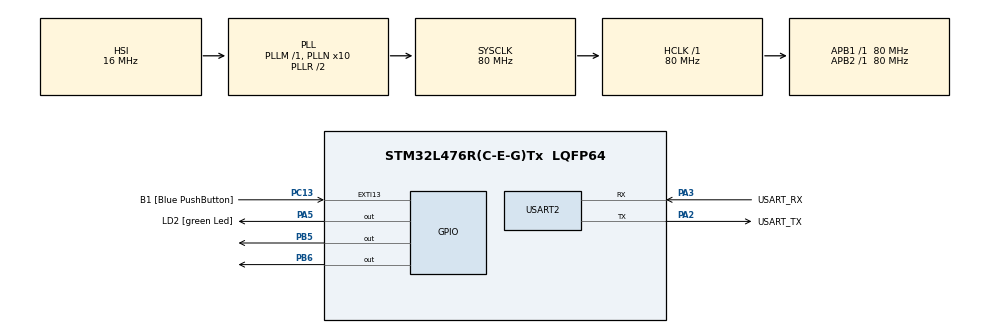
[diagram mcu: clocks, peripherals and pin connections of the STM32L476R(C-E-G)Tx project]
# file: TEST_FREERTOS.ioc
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FREERTOS.INCLUDE_pcTaskGetTaskName=1
FREERTOS.INCLUDE_xQueueGetMutexHolder=0
FREERTOS.INCLUDE_xTaskGetHandle=1
FREERTOS.Tasks01=defaultTask,24,128,StartDefaultTask,Default,NULL,Dynamic,NULL,NULL
FREERTOS.configUSE_IDLE_HOOK=0
FREERTOS.configUSE_NEWLIB_REENTRANT=1
Mcu.Family=STM32L4
Mcu.Name=STM32L476R(C-E-G)Tx
Mcu.Package=LQFP64
NVIC.PriorityGroup=NVIC_PRIORITYGROUP_4
NVIC.TIM1_UP_TIM16_IRQn=true\:15\:0\:false\:false\:true\:false\:false\:true\:true
NVIC.TimeBase=TIM1_UP_TIM16_IRQn
NVIC.TimeBaseIP=TIM1
PA13\ (JTMS-SWDIO).GPIO_Label=TMS
PA13\ (JTMS-SWDIO).Mode=Serial_Wire
PA13\ (JTMS-SWDIO).Signal=SYS_JTMS-SWDIO
PA14\ (JTCK-SWCLK).GPIO_Label=TCK
PA14\ (JTCK-SWCLK).Mode=Serial_Wire
PA14\ (JTCK-SWCLK).Signal=SYS_JTCK-SWCLK
PA2.GPIO_Label=USART_TX
PA2.GPIO_Mode=GPIO_MODE_AF_PP
PA2.GPIO_PuPd=GPIO_NOPULL
PA2.GPIO_Speed=GPIO_SPEED_FREQ_VERY_HIGH
PA2.Mode=Asynchronous
PA2.Signal=USART2_TX
PA3.GPIO_Label=USART_RX
PA3.GPIO_Mode=GPIO_MODE_AF_PP
PA3.GPIO_PuPd=GPIO_NOPULL
PA3.GPIO_Speed=GPIO_SPEED_FREQ_VERY_HIGH
PA3.Mode=Asynchronous
PA3.Signal=USART2_RX
PA5.GPIO_Label=LD2 [green Led]
PA5.GPIO_ModeDefaultOutputPP=GPIO_MODE_OUTPUT_PP
PA5.GPIO_PuPd=GPIO_NOPULL
PA5.GPIO_Speed=GPIO_SPEED_FREQ_LOW
PA5.Signal=GPIO_Output
PB3\ (JTDO-TRACESWO).GPIO_Label=SWO
PB3\ (JTDO-TRACESWO).Signal=SYS_JTDO-SWO
PB5.Signal=GPIO_Output
PB6.Signal=GPIO_Output
PC13.GPIO_Label=B1 [Blue PushButton]
PC13.GPIO_ModeDefaultEXTI=GPIO_MODE_IT_FALLING
PC13.GPIO_PuPd=GPIO_NOPULL
PC13.Signal=GPXTI13
PC14-OSC32_IN\ (PC14).Mode=LSE-External-Oscillator
PC14-OSC32_IN\ (PC14).Signal=RCC_OSC32_IN
PC15-OSC32_OUT\ (PC15).Mode=LSE-External-Oscillator
PC15-OSC32_OUT\ (PC15).Signal=RCC_OSC32_OUT
PH0-OSC_IN\ (PH0).Signal=RCC_OSC_IN
PH1-OSC_OUT\ (PH1).Signal=RCC_OSC_OUT
ProjectManager.HeapSize=0x200
ProjectManager.StackSize=0x400
ProjectManager.TargetToolchain=STM32CubeIDE
RCC.ADCFreq_Value=64000000
RCC.AHBFreq_Value=80000000
RCC.APB1Freq_Value=80000000
RCC.APB1TimFreq_Value=80000000
RCC.APB2Freq_Value=80000000
RCC.APB2TimFreq_Value=80000000
RCC.CortexFreq_Value=80000000
RCC.HCLKFreq_Value=80000000
RCC.HSE_VALUE=8000000
RCC.HSI_VALUE=16000000
RCC.MSI_VALUE=4000000
RCC.PLLN=10
RCC.PLLSourceVirtual=RCC_PLLSOURCE_HSI
RCC.PREFETCH_ENABLE=1
RCC.SYSCLKFreq_VALUE=80000000
RCC.SYSCLKSource=RCC_SYSCLKSOURCE_PLLCLK
RCC.USBFreq_Value=64000000
RCC.VCOOutputFreq_Value=160000000
USART2.VirtualMode-Asynchronous=VM_ASYNC
VP_FREERTOS_VS_CMSIS_V2.Mode=CMSIS_V2
VP_SYS_VS_tim1.Mode=TIM1
board=NUCLEO-L476RG

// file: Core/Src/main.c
/* USER CODE BEGIN Header */
/**
  ******************************************************************************
  * @file           : main.c
  * @brief          : Main program body
  ******************************************************************************
  * @attention
  *
  * Copyright (c) 2026 STMicroelectronics.
  * All rights reserved.
  *
  * This software is licensed under terms that can be found in the LICENSE file
  * in the root directory of this software component.
  * If no LICENSE file comes with this software, it is provided AS-IS.
  *
  ******************************************************************************
  */
/* USER CODE END Header */
#include "main.h"
//#include "cmsis_os.h"
#include "usart.h"
#include "gpio.h"

/* USER CODE BEGIN Includes */
#include "FreeRTOS.h"
#include "task.h"
#include "scheduler.h"
#include <stdio.h>
#include "DBG.h"
/* USER CODE END Includes */

/* USER CODE BEGIN PD */
TaskHandle_t tA, tB, tC;

/* USER CODE END PD */

void SystemClock_Config(void);

/* USER CODE BEGIN PFP */
void periodic_task( void *pvParameters );
void vApplicationStackOverflowHook( TaskHandle_t xTask, char *pcTaskName );
void MyTaskSwitchedIn( void );
void MyTaskSwitchedOut( void );
void vApplicationTickHook( void );
void show_specific_task_states(void);
/* USER CODE END PFP */

int main(void)
{

  /* MCU Configuration--------------------------------------------------------*/

  /* Reset of all peripherals, Initializes the Flash interface and the Systick. */
  HAL_Init();

  /* Configure the system clock */
  SystemClock_Config();

  /* Initialize all configured peripherals */
  MX_GPIO_Init();
  MX_USART2_UART_Init();
  /* USER CODE BEGIN 2 */

	DBG_PRINT("hi");

  /* USER CODE END 2 */

  /* Start scheduler */

  /* We should never get here as control is now taken by the scheduler */

  /* Infinite loop */
  /* USER CODE BEGIN WHILE */
  /* Create RT periodic tasks.
       * No need to pass parameters to the task function —
       * everything is stored inside the TCB via xRTTaskCreate. */
  xRTTaskCreate( periodic_task, "A", 1024, NULL,
                 pdMS_TO_TICKS( 500 ),   /* period   */
                 pdMS_TO_TICKS( 500 ),   /* deadline */
                 pdMS_TO_TICKS( 80  ),   /* execution time */
                 &tA );

  xRTTaskCreate( periodic_task, "B", 1024, NULL,
                 pdMS_TO_TICKS( 400 ),
                 pdMS_TO_TICKS( 400 ),
                 pdMS_TO_TICKS( 200 ),
                 &tB );
  /*
  xRTTaskCreate( periodic_task, "C", 1024, NULL,
                     pdMS_TO_TICKS( 1000 ),
                     pdMS_TO_TICKS( 1000 ),
                     pdMS_TO_TICKS( 600  ),
                     &tC );
*/
      /* Print registered task info using helper API */
  DBG_PRINT( "Tasks created and registered:\n" );
  for( UBaseType_t i = 0; i < uxRTGetTaskCount(); i++ )
  {
	  TaskHandle_t h = xRTGetTaskByIndex( i );
	  DBG_PRINT( "  Task %s: period=%lu  deadline=%lu  execution_time=%lu\n",
      pcTaskGetName( h ),
      ( unsigned long ) xRTGetTaskPeriod( h ),
      ( unsigned long ) xRTGetTaskDeadline( h ),
      ( unsigned long ) xRTGetTaskExecutionTime( h ) );
  }

      /* Active policy shown at startup */
	#if   ( configUSE_RM   == 1 )
  DBG_PRINT( "Policy: Rate Monotonic (RM)\n" );
	#elif ( configUSE_DM   == 1 )
  DBG_PRINT( "Policy: Deadline Monotonic (DM)\n" );
	#elif ( configUSE_FIFO == 1 )
  DBG_PRINT( "Policy: FIFO\n" );
	#elif ( configUSE_EDF  == 1 )
  DBG_PRINT( "Policy: Earliest Deadline First (EDF)\n" );
  #endif

  //fflush( stdout );

  DBG_PRINT( "Starting scheduler\n" );
  vTaskStartScheduler();
  DBG_PRINT("5 - ERROR: scheduler returned!\r\n");

  while (1)
  {
    /* USER CODE END WHILE */

  }
}

void SystemClock_Config(void)
{
  RCC_OscInitTypeDef RCC_OscInitStruct = {0};
  RCC_ClkInitTypeDef RCC_ClkInitStruct = {0};

  /** Configure the main internal regulator output voltage
  */
  if (HAL_PWREx_ControlVoltageScaling(PWR_REGULATOR_VOLTAGE_SCALE1) != HAL_OK)
  {
    Error_Handler();
  }

  /** Initializes the RCC Oscillators according to the specified parameters
  * in the RCC_OscInitTypeDef structure.
  */
  RCC_OscInitStruct.OscillatorType = RCC_OSCILLATORTYPE_HSI;
  RCC_OscInitStruct.HSIState = RCC_HSI_ON;
  RCC_OscInitStruct.HSICalibrationValue = RCC_HSICALIBRATION_DEFAULT;
  RCC_OscInitStruct.PLL.PLLState = RCC_PLL_ON;
  RCC_OscInitStruct.PLL.PLLSource = RCC_PLLSOURCE_HSI;
  RCC_OscInitStruct.PLL.PLLM = 1;
  RCC_OscInitStruct.PLL.PLLN = 10;
  RCC_OscInitStruct.PLL.PLLP = RCC_PLLP_DIV7;
  RCC_OscInitStruct.PLL.PLLQ = RCC_PLLQ_DIV2;
  RCC_OscInitStruct.PLL.PLLR = RCC_PLLR_DIV2;
  if (HAL_RCC_OscConfig(&RCC_OscInitStruct) != HAL_OK)
  {
    Error_Handler();
  }

  /** Initializes the CPU, AHB and APB buses clocks
  */
  RCC_ClkInitStruct.ClockType = RCC_CLOCKTYPE_HCLK|RCC_CLOCKTYPE_SYSCLK
                              |RCC_CLOCKTYPE_PCLK1|RCC_CLOCKTYPE_PCLK2;
  RCC_ClkInitStruct.SYSCLKSource = RCC_SYSCLKSOURCE_PLLCLK;
  RCC_ClkInitStruct.AHBCLKDivider = RCC_SYSCLK_DIV1;
  RCC_ClkInitStruct.APB1CLKDivider = RCC_HCLK_DIV1;
  RCC_ClkInitStruct.APB2CLKDivider = RCC_HCLK_DIV1;

  if (HAL_RCC_ClockConfig(&RCC_ClkInitStruct, FLASH_LATENCY_4) != HAL_OK)
  {
    Error_Handler();
  }
}

/* USER CODE BEGIN 4 */
/* Required by FreeRTOS static allocation */
void vApplicationGetIdleTaskMemory( StaticTask_t **ppxIdleTaskTCBBuffer,
                                    StackType_t  **ppxIdleTaskStackBuffer,
                                    uint32_t      *pulIdleTaskStackSize )
{
    static StaticTask_t xIdleTaskTCB;
    static StackType_t  uxIdleTaskStack[ configMINIMAL_STACK_SIZE ];

    *ppxIdleTaskTCBBuffer  = &xIdleTaskTCB;
    *ppxIdleTaskStackBuffer = uxIdleTaskStack;
    *pulIdleTaskStackSize   = configMINIMAL_STACK_SIZE;
}
/* =========================================================
 * PERIODIC TASK
 *
 * No parameters passed — everything is read directly from
 * the TCB via the helper API using the current task handle.
 *
 * Pattern:
 *   1. Do work (busy wait for execution time duration)
 *   2. Print job info
 *   3. Suspend — TickHook will release next job
 * ========================================================= */
void periodic_task( void *pvParameters )
{
    ( void ) pvParameters;

    for( ;; )
    {
        TaskHandle_t self    = xTaskGetCurrentTaskHandle();
        TickType_t   execution_time = xRTGetTaskExecutionTime( self );
        TickType_t   elapsed = 0;
        TickType_t   slice_start;

        DBG_PRINT( "[START] %s  tick=%lu  execution_time = %lu\n",
                pcTaskGetName( self ),
                ( unsigned long ) xTaskGetTickCount(),
                ( unsigned long ) execution_time );

        /* Exécute par tranches — accumule seulement le temps CPU réel.
         * Si préemptée entre deux tranches, le temps perdu n'est pas compté. */
        while( elapsed < execution_time )
        {
            slice_start = xTaskGetTickCount();

            /* Tranche de travail — 1 tick à la fois */
            while( xTaskGetTickCount() == slice_start )
            {
                /* busy work pendant exactement 1 tick */
            }

            elapsed++;   /* 1 tick CPU consommé */
        }

        TickType_t finish = xTaskGetTickCount();
        DBG_PRINT( "[END  ] %s  tick=%lu  exec=%lu\n",
                pcTaskGetName( self ),
                ( unsigned long ) finish,
                ( unsigned long ) elapsed );

        vTaskSuspend( NULL );
    }
}

/* =========================================================
 * Hook — Stack Overflow
 * ========================================================= */
void vApplicationStackOverflowHook( TaskHandle_t xTask, char *pcTaskName )
{
    ( void ) xTask;
    //DBG_PRINT( "STACK OVERFLOW: %s\n", pcTaskName );
    taskDISABLE_INTERRUPTS();
    for( ;; );
}

/* =========================================================
 * Hooks — Task Switch Trace
 * Called by FreeRTOS trace macros (traceTASK_SWITCHED_IN /
 * traceTASK_SWITCHED_OUT) — define these macros in
 * FreeRTOSConfig.h to enable tracing:
 *
 *   #define traceTASK_SWITCHED_IN()  MyTaskSwitchedIn()
 *   #define traceTASK_SWITCHED_OUT() MyTaskSwitchedOut()
 * ========================================================= */
void MyTaskSwitchedIn( void )
{
    TaskHandle_t h = xTaskGetCurrentTaskHandle();
    //we want to SET ON the LED here to visualize the scheduling,
    // if task A is running, SET GPIO PB5
    // if task B is running, SET GPIO PB6

        if (pcTaskGetName(h)[0] == 'A') {
            HAL_GPIO_WritePin(GPIOB, GPIO_PIN_5, GPIO_PIN_SET);
        } else if (pcTaskGetName(h)[0] == 'B') {
            HAL_GPIO_WritePin(GPIOB, GPIO_PIN_6, GPIO_PIN_SET);
        }

    //DBG_PRINT( "[IN ] %s at %lu\n",
    //      pcTaskGetName( h ),
    //      ( unsigned long ) xTaskGetTickCount() );

}

void MyTaskSwitchedOut( void )
{
    TaskHandle_t h = xTaskGetCurrentTaskHandle();
    //we want to SET OFF the LED here to visualize the scheduling,
    // if task A is switched out, SET OFF GPIO PB5
    // if task B is switched out, SET OFF GPIO PB6
        if (pcTaskGetName(h)[0] == 'A') {
            HAL_GPIO_WritePin(GPIOB, GPIO_PIN_5, GPIO_PIN_RESET);
        } else if (pcTaskGetName(h)[0] == 'B') {
            HAL_GPIO_WritePin(GPIOB, GPIO_PIN_6, GPIO_PIN_RESET);
        }

    //DBG_PRINT( "[OUT] %s at %lu\n",
    //       pcTaskGetName( h ),
    //      ( unsigned long ) xTaskGetTickCount() );
}

/* =========================================================
 * Hook — Tick
 * vApplicationRTTickHook() is called automatically inside
 * xTaskIncrementTick() via the tasks.c modification.
 * This hook is for application-level periodic logging only.
 * ========================================================= */
/*
void vApplicationTickHook( void )
{
    static TickType_t tickCount = 0;
    tickCount++;

    if( ( tickCount % 100 ) == 0 )
    {
        DBG_PRINT( "[TICK] %lu\n", ( unsigned long ) tickCount );
    }
}
*/

void show_specific_task_states(void)
{
    TaskHandle_t tasks[] = {tA, tB, tC};
    const char* names[] = {"A", "B", "C"};

    DBG_PRINT("\n--- Specific Task States ---\n");
    for(int i = 0; i < 3; i++)
    {
        if(tasks[i] != NULL)
        {
            eTaskState state = eTaskGetState(tasks[i]);
            const char *state_str;

            switch(state)
            {
                case eRunning:   state_str = "Running"; break;
                case eReady:     state_str = "Ready"; break;
                case eBlocked:   state_str = "Blocked"; break;
                case eSuspended: state_str = "Suspended"; break;
                case eDeleted:   state_str = "Deleted"; break;
                default:         state_str = "Unknown"; break;
            }

            DBG_PRINT("Task %s: %s\n", names[i], state_str);
        }
    }
    DBG_PRINT("----------------------------\n");
}

// And update the tick hook to use the simpler version:
void vApplicationTickHook(void)
{
    static TickType_t tickCount = 0;
    tickCount++;

    if ((tickCount % 10) == 0)
    {
    	DBG_PRINT("[TICK] %lu ticks elapsed\n", (unsigned long)tickCount);

        if ((tickCount % 50) == 0)
        {
            show_specific_task_states();
        }
    }
}

/* USER CODE END 4 */

void Error_Handler(void)
{
  __disable_irq();
  while (1)
  {
  }
}
